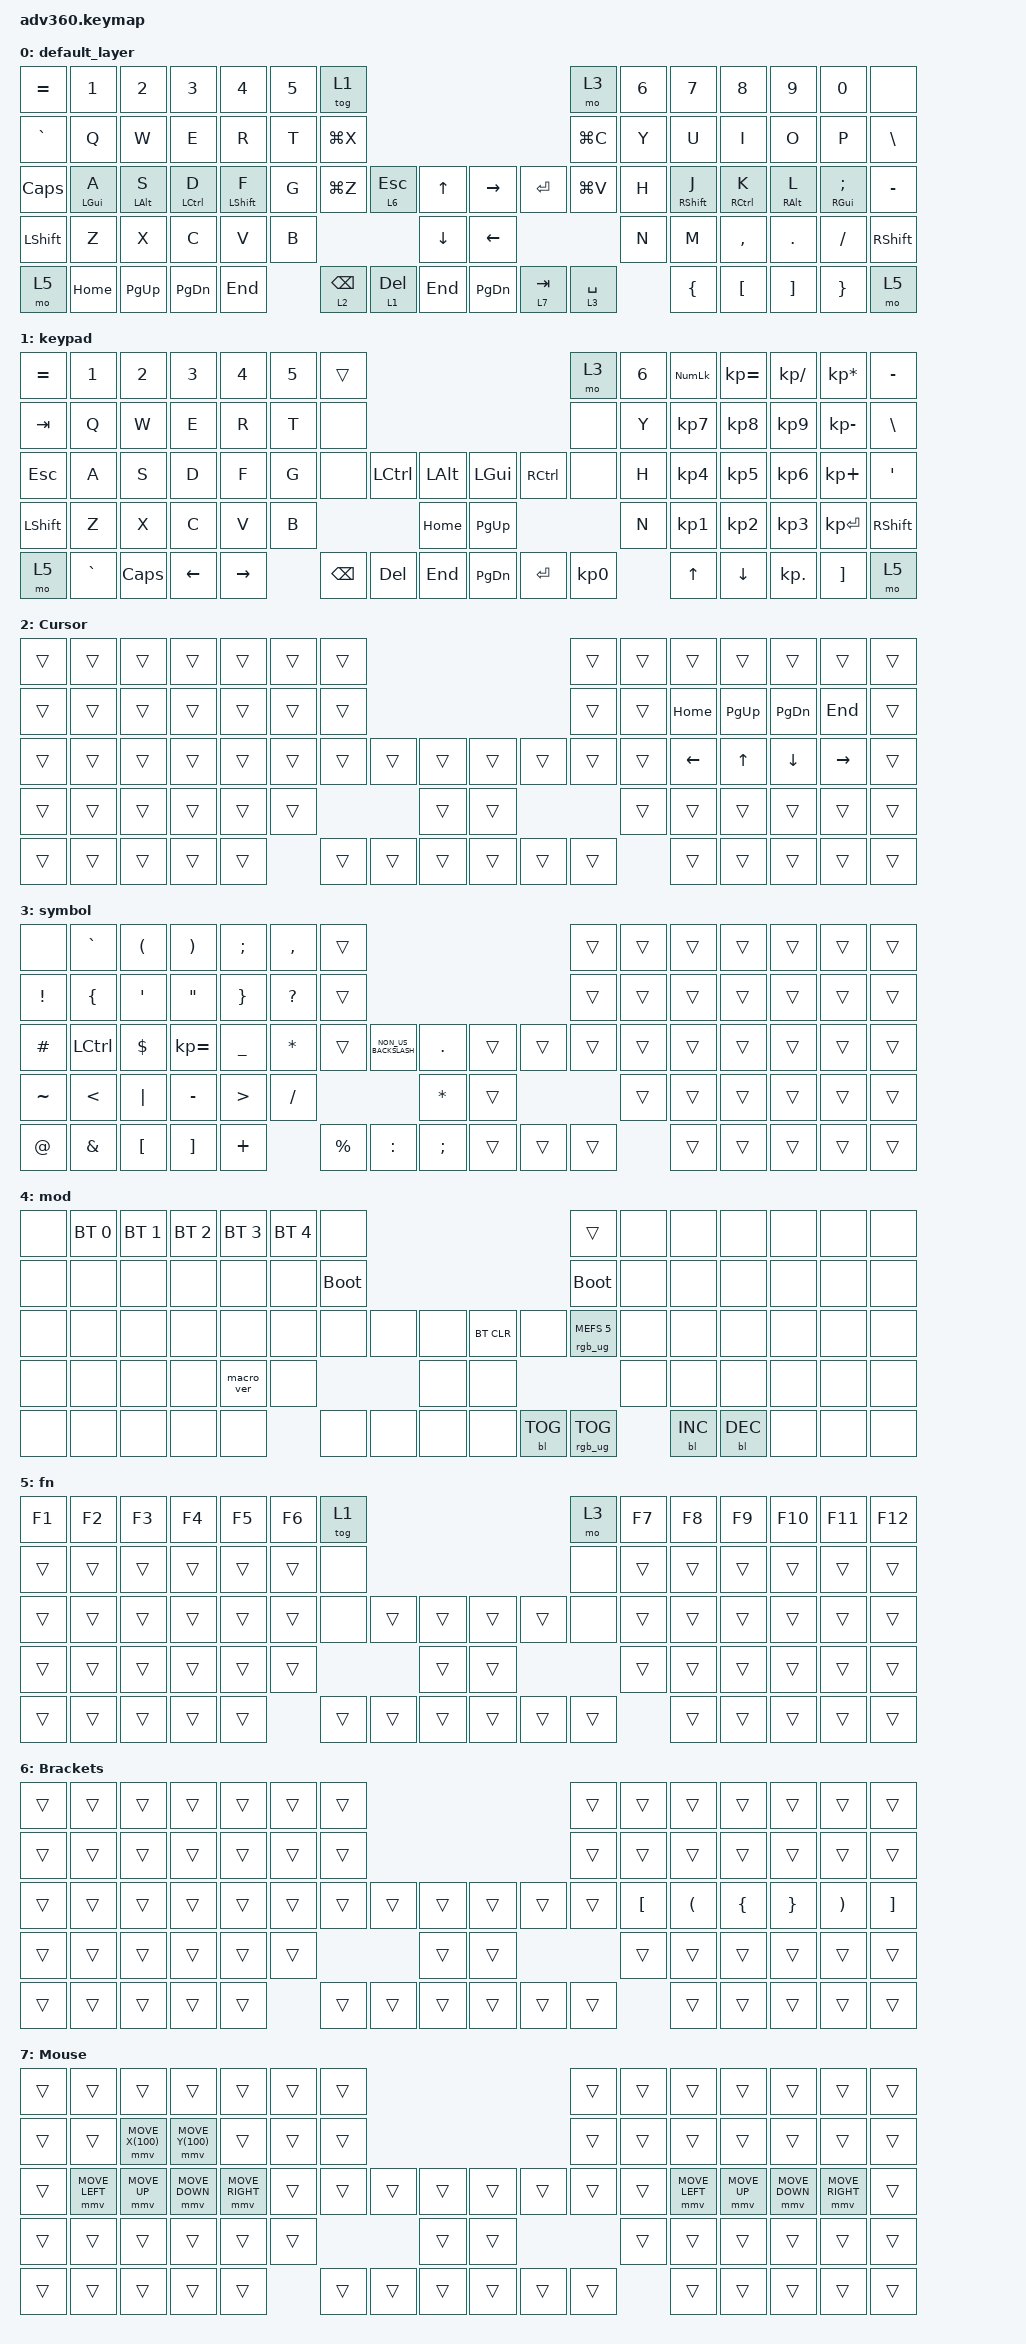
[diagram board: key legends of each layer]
#include <behaviors.dtsi>
#include <dt-bindings/zmk/backlight.h>
#include <dt-bindings/zmk/bt.h>
#include <dt-bindings/zmk/keys.h>
#include <dt-bindings/zmk/pointing.h>
#include <dt-bindings/zmk/rgb.h>

/ {
    behaviors {
        #include "macros.dtsi"
      #include "version.dtsi"
      #ifndef VERSION_MACRO

        macro_ver: macro_ver {
            compatible = "zmk,behavior-macro";
            label = "macro_version";
            #binding-cells = <0>;
            bindings = <&kp RET>;
        };

        #endif

        hm: homerow_mods {
            compatible = "zmk,behavior-hold-tap";
            label = "HOMEROW_MODS";
            #binding-cells = <2>;
            tapping-term-ms = <300>;
            quick_tap_ms = <175>;
            flavor = "tap-preferred";
            bindings = <&kp>, <&kp>;
        };

        mouse_key_press: mouse_key_press {
            compatible = "zmk,behavior-mouse-key-press";
            label = "MOUSE_KEY_PRESS";
            #binding-cells = <1>;
        };
    };

    macros {
    };

    keymap {
        compatible = "zmk,keymap";

        default_layer {
            bindings = <
&kp EQUAL     &kp N1          &kp N2          &kp N3         &kp N4            &kp N5  &tog 1                                                                 &mo 3        &kp N6  &kp N7          &kp N8            &kp N9             &kp N0                   &none
&kp GRAVE     &kp Q           &kp W           &kp E          &kp R             &kp T   &kp LG(X)                                                              &kp LG(C)    &kp Y   &kp U           &kp I             &kp O              &kp P                    &kp BSLH
&kp CAPSLOCK  &hm LEFT_GUI A  &hm LEFT_ALT S  &hm LCTRL D    &hm LEFT_SHIFT F  &kp G   &kp LG(Z)        &lt 6 ESCAPE  &kp UP_ARROW      &kp RIGHT  &kp ENTER  &kp LG(V)    &kp H   &hm RSHFT J     &hm RCTRL K       &hm RIGHT_ALT L    &hm RIGHT_GUI SEMICOLON  &kp MINUS
&kp LSHFT     &kp Z           &kp X           &kp C          &kp V             &kp B                                  &kp DOWN          &kp LEFT                           &kp N   &kp M           &kp COMMA         &kp DOT            &kp FSLH                 &kp RSHFT
&mo 5         &kp HOME        &kp PAGE_UP     &kp PAGE_DOWN  &kp END                   &lt 2 BACKSPACE  &lt 1 DELETE  &kp END           &kp PG_DN  &lt 7 TAB  &lt 3 SPACE          &kp LEFT_BRACE  &kp LEFT_BRACKET  &kp RIGHT_BRACKET  &kp RIGHT_BRACE          &mo 5
            >;
        };

        keypad {
            bindings = <
&kp EQUAL  &kp N1     &kp N2    &kp N3    &kp N4     &kp N5  &trans                                                   &mo 3      &kp N6  &kp KP_NUM  &kp KP_EQUAL  &kp KP_DIVIDE  &kp KP_MULTIPLY  &kp MINUS
&kp TAB    &kp Q      &kp W     &kp E     &kp R      &kp T   &none                                                    &none      &kp Y   &kp KP_N7   &kp KP_N8     &kp KP_N9      &kp KP_MINUS     &kp BSLH
&kp ESC    &kp A      &kp S     &kp D     &kp F      &kp G   &none     &kp LCTRL  &kp LALT      &kp LGUI   &kp RCTRL  &none      &kp H   &kp KP_N4   &kp KP_N5     &kp KP_N6      &kp KP_PLUS      &kp SQT
&kp LSHFT  &kp Z      &kp X     &kp C     &kp V      &kp B                        &kp HOME      &kp PG_UP                        &kp N   &kp KP_N1   &kp KP_N2     &kp KP_N3      &kp KP_ENTER     &kp RSHFT
&mo 5      &kp GRAVE  &kp CAPS  &kp LEFT  &kp RIGHT          &kp BSPC  &kp DEL    &kp END       &kp PG_DN  &kp ENTER  &kp KP_N0          &kp UP      &kp DOWN      &kp KP_DOT     &kp RBKT         &mo 5
            >;
        };

        Cursor {
            bindings = <
&trans  &trans  &trans  &trans  &trans  &trans  &trans                                      &trans  &trans  &trans    &trans        &trans         &trans     &trans
&trans  &trans  &trans  &trans  &trans  &trans  &trans                                      &trans  &trans  &kp HOME  &kp PAGE_UP   &kp PAGE_DOWN  &kp END    &trans
&trans  &trans  &trans  &trans  &trans  &trans  &trans  &trans  &trans      &trans  &trans  &trans  &trans  &kp LEFT  &kp UP_ARROW  &kp DOWN       &kp RIGHT  &trans
&trans  &trans  &trans  &trans  &trans  &trans                  &trans      &trans                  &trans  &trans    &trans        &trans         &trans     &trans
&trans  &trans  &trans  &trans  &trans          &trans  &trans  &trans      &trans  &trans  &trans          &trans    &trans        &trans         &trans     &trans
            >;
        };

        symbol {
            bindings = <
&none            &kp GRAVE       &kp LEFT_PARENTHESIS  &kp RIGHT_PARENTHESIS  &kp SEMICOLON     &kp COMMA     &trans                                                                &trans  &trans  &trans  &trans  &trans  &trans  &trans
&kp EXCLAMATION  &kp LEFT_BRACE  &kp SQT               &kp DOUBLE_QUOTES      &kp RIGHT_BRACE   &kp QUESTION  &trans                                                                &trans  &trans  &trans  &trans  &trans  &trans  &trans
&kp HASH         &kp LCTRL       &kp DOLLAR            &kp KP_EQUAL           &kp UNDER         &kp ASTERISK  &trans       &kp NON_US_BACKSLASH  &kp PERIOD         &trans  &trans  &trans  &trans  &trans  &trans  &trans  &trans  &trans
&kp TILDE        &kp LESS_THAN   &kp PIPE              &kp MINUS              &kp GREATER_THAN  &kp SLASH                                        &kp ASTERISK       &trans                  &trans  &trans  &trans  &trans  &trans  &trans
&kp AT_SIGN      &kp AMPERSAND   &kp LEFT_BRACKET      &kp RIGHT_BRACKET      &kp PLUS                        &kp PERCENT  &kp COLON             &kp SEMICOLON      &trans  &trans  &trans          &trans  &trans  &trans  &trans  &trans
            >;
        };

        mod {
            bindings = <
&none  &bt BT_SEL 0  &bt BT_SEL 1  &bt BT_SEL 2  &bt BT_SEL 3  &bt BT_SEL 4  &none                                                  &trans                  &none  &none       &none       &none  &none  &none
&none  &none         &none         &none         &none         &none         &bootloader                                            &bootloader             &none  &none       &none       &none  &none  &none
&none  &none         &none         &none         &none         &none         &none        &none  &none      &bt BT_CLR  &none       &rgb_ug RGB_MEFS_CMD 5  &none  &none       &none       &none  &none  &none
&none  &none         &none         &none         &macro_ver    &none                             &none      &none                                           &none  &none       &none       &none  &none  &none
&none  &none         &none         &none         &none                       &none        &none  &none      &none       &bl BL_TOG  &rgb_ug RGB_TOG                &bl BL_INC  &bl BL_DEC  &none  &none  &none
            >;
        };

        fn {
            bindings = <
&kp F1  &kp F2  &kp F3  &kp F4  &kp F5  &kp F6  &tog 1                                      &mo 3   &kp F7  &kp F8  &kp F9  &kp F10  &kp F11  &kp F12
&trans  &trans  &trans  &trans  &trans  &trans  &none                                       &none   &trans  &trans  &trans  &trans   &trans   &trans
&trans  &trans  &trans  &trans  &trans  &trans  &none   &trans  &trans      &trans  &trans  &none   &trans  &trans  &trans  &trans   &trans   &trans
&trans  &trans  &trans  &trans  &trans  &trans                  &trans      &trans                  &trans  &trans  &trans  &trans   &trans   &trans
&trans  &trans  &trans  &trans  &trans          &trans  &trans  &trans      &trans  &trans  &trans          &trans  &trans  &trans   &trans   &trans
            >;
        };

        Brackets {
            bindings = <
&trans  &trans  &trans  &trans  &trans  &trans  &trans                                      &trans  &trans            &trans                &trans          &trans           &trans                 &trans
&trans  &trans  &trans  &trans  &trans  &trans  &trans                                      &trans  &trans            &trans                &trans          &trans           &trans                 &trans
&trans  &trans  &trans  &trans  &trans  &trans  &trans  &trans  &trans      &trans  &trans  &trans  &kp LEFT_BRACKET  &kp LEFT_PARENTHESIS  &kp LEFT_BRACE  &kp RIGHT_BRACE  &kp RIGHT_PARENTHESIS  &kp RIGHT_BRACKET
&trans  &trans  &trans  &trans  &trans  &trans                  &trans      &trans                  &trans            &trans                &trans          &trans           &trans                 &trans
&trans  &trans  &trans  &trans  &trans          &trans  &trans  &trans      &trans  &trans  &trans                    &trans                &trans          &trans           &trans                 &trans
            >;
        };

        Mouse {
            bindings = <
&trans  &trans          &trans            &trans            &trans           &trans  &trans                                      &trans  &trans  &trans          &trans        &trans          &trans           &trans
&trans  &trans          &mmv MOVE_X(100)  &mmv MOVE_Y(100)  &trans           &trans  &trans                                      &trans  &trans  &trans          &trans        &trans          &trans           &trans
&trans  &mmv MOVE_LEFT  &mmv MOVE_UP      &mmv MOVE_DOWN    &mmv MOVE_RIGHT  &trans  &trans  &trans  &trans      &trans  &trans  &trans  &trans  &mmv MOVE_LEFT  &mmv MOVE_UP  &mmv MOVE_DOWN  &mmv MOVE_RIGHT  &trans
&trans  &trans          &trans            &trans            &trans           &trans                  &trans      &trans                  &trans  &trans          &trans        &trans          &trans           &trans
&trans  &trans          &trans            &trans            &trans                   &trans  &trans  &trans      &trans  &trans  &trans          &trans          &trans        &trans          &trans           &trans
            >;
        };
    };
};
